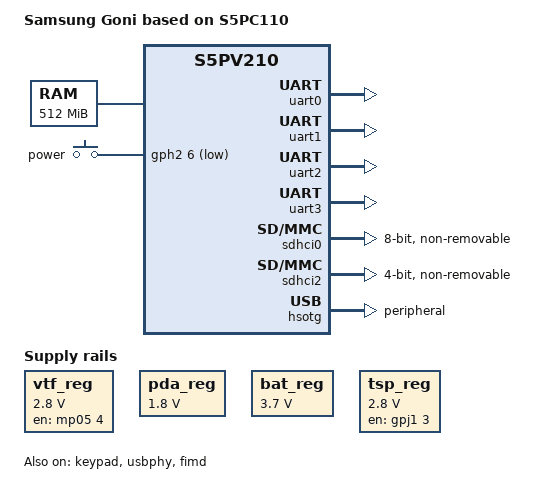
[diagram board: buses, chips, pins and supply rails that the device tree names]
/*
 * Samsung's S5PV210 SoC device tree source
 *
 * Copyright (c) 2013-2014 Samsung Electronics, Co. Ltd.
 *
 * Mateusz Krawczuk <m.krawczuk@partner.samsung.com>
 * Tomasz Figa <t.figa@samsung.com>
 *
 * Board device tree source for Samsung Goni board.
 *
 * This program is free software; you can redistribute it and/or modify
 * it under the terms of the GNU General Public License version 2 as
 * published by the Free Software Foundation.
 */

/dts-v1/;
#include <dt-bindings/input/input.h>
#include "s5pv210.dtsi"

/ {
	model = "Samsung Goni based on S5PC110";
	compatible = "samsung,goni", "samsung,s5pv210";

	aliases {
		/* i2c3 = &i2c_pmic; */
	};

	chosen {
		bootargs = "console=ttySAC2,115200n8 root=/dev/mmcblk1p1 rw rootfstype=ext4 rootwait ignore_loglevel earlyprintk";
	};

	memory@30000000 {
		device_type = "memory";
		reg = <0x30000000 0x10000000
			0x40000000 0x10000000>;
	};

	regulators {
		compatible = "simple-bus";
		#address-cells = <1>;
		#size-cells = <0>;

		vtf_reg: fixed-regulator@0 {
			compatible = "regulator-fixed";
			regulator-name = "V_TF_2.8V";
			regulator-min-microvolt = <2800000>;
			regulator-max-microvolt = <2800000>;
			reg = <0>;
			gpio = <&mp05 4 0>;
			enable-active-high;
		};

		pda_reg: fixed-regulator@1 {
			compatible = "regulator-fixed";
			regulator-name = "VCC_1.8V_PDA";
			regulator-min-microvolt = <1800000>;
			regulator-max-microvolt = <1800000>;
			reg = <1>;
		};

		bat_reg: fixed-regulator@2 {
			compatible = "regulator-fixed";
			regulator-name = "V_BAT";
			regulator-min-microvolt = <3700000>;
			regulator-max-microvolt = <3700000>;
			reg = <2>;
		};

		tsp_reg: fixed-regulator@3 {
			compatible = "regulator-fixed";
			regulator-name = "TSP_VDD";
			regulator-min-microvolt = <2800000>;
			regulator-max-microvolt = <2800000>;
			reg = <3>;
			gpio = <&gpj1 3 0>;
			enable-active-high;
		};
	};
	/* i2c_pmic */

	gpio-keys {
		compatible = "gpio-keys";

		power-key {
			gpios = <&gph2 6 1>;
			linux,code = <KEY_POWER>;
			label = "power";
			debounce-interval = <1>;
			wakeup-source;
		};
	};
};

&xusbxti {
	clock-frequency = <24000000>;
};

&keypad {
	linux,input-no-autorepeat;
	wakeup-source;
	samsung,keypad-num-rows = <3>;
	samsung,keypad-num-columns = <3>;
	pinctrl-names = "default";
	pinctrl-0 = <&keypad_row0>, <&keypad_row1>, <&keypad_row2>,
			<&keypad_col0>, <&keypad_col1>, <&keypad_col2>;
	status = "okay";

	key_1 {
		keypad,row = <0>;
		keypad,column = <1>;
		linux,code = <KEY_CONNECT>;
	};

	key_2 {
		keypad,row = <0>;
		keypad,column = <2>;
		linux,code = <KEY_BACK>;
	};

	key_3 {
		keypad,row = <1>;
		keypad,column = <1>;
		linux,code = <KEY_CAMERA_FOCUS>;
	};

	key_4 {
		keypad,row = <1>;
		keypad,column = <2>;
		linux,code = <KEY_VOLUMEUP>;
	};

	key_5 {
		keypad,row = <2>;
		keypad,column = <1>;
		linux,code = <KEY_CAMERA>;
	};

	key_6 {
		keypad,row = <2>;
		keypad,column = <2>;
		linux,code = <KEY_VOLUMEDOWN>;
	};
};

&uart0 {
	status = "okay";
};

&uart1 {
	status = "okay";
};

&uart2 {
	status = "okay";
};

&uart3 {
	status = "okay";
};

&sdhci0 {
	/* bus-width = <4>; */
	bus-width = <8>;
	non-removable;
	/* vmmc-supply = <&ldo5_reg>; */
	/* pinctrl-0 = <&sd0_clk &sd0_cmd &sd0_cd &sd0_bus1 &sd0_bus4>; */
	pinctrl-0 = <&sd0_clk &sd0_cmd &sd0_cd &sd0_bus4 &sd0_bus8>;
	pinctrl-names = "default";
	status = "okay";
};

&sdhci2 {
	bus-width = <4>;
	/* cd-gpios = <&gph3 4 1>; */
	/* vmmc-supply = <&vtf_reg>; */
	/* cd-inverted; */
	/* pinctrl-0 = <&sd2_clk &sd2_cmd &sd2_bus4>; */
	non-removable;
	pinctrl-0 = <&sd2_clk &sd2_cmd &sd2_cd &sd2_bus4>;
	pinctrl-names = "default";
	status = "okay";
};

&hsotg {
	/* vusb_a-supply = <&ldo3_reg>; */
	/* vusb_d-supply = <&ldo8_reg>; */
	dr_mode = "peripheral";
	status = "okay";
};

&usbphy {
	status = "okay";
};
/* &i2c2 */

/* &i2c0 */

/* &camera */

&fimd {
	pinctrl-0 = <&lcd_clk &lcd_data24>;
	pinctrl-names = "default";
	status = "okay";

	display-timings {
		native-mode = <&timing0>;
		timing0: timing {
			/* 480x800@55Hz */
			clock-frequency = <23439570>;
			hactive = <480>;
			hfront-porch = <16>;
			hback-porch = <16>;
			hsync-len = <2>;
			vactive = <800>;
			vback-porch = <2>;
			vfront-porch = <28>;
			vsync-len = <1>;
			hsync-active = <0>;
			vsync-active = <0>;
			de-active = <0>;
			pixelclk-active = <0>;
		};
	};
};
